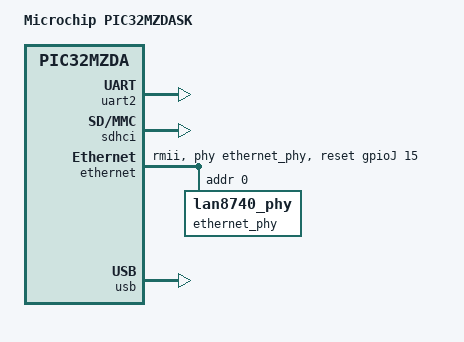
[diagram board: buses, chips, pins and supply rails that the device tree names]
// SPDX-License-Identifier: GPL-2.0+
/*
 * Copyright (C) 2015 Purna Chandra Mandal, purna.mandal@microchip.com
 */

/dts-v1/;

#include "pic32mzda.dtsi"

/ {
	model = "Microchip PIC32MZDASK";
	compatible = "microchip,pic32mzdask", "microchip,pic32mzda";

	aliases {
		console = &uart2;
		serial0 = &uart2;
	};

	chosen {
		stdout-path = "serial0:115200n8";
	};
};

&clock {
	microchip,refo2-frequency = <50000000>;
	microchip,refo4-frequency = <25000000>;
	microchip,refo5-frequency = <40000000>;
	status = "okay";
	bootph-all;
};

&pinctrl {
	status = "okay";
	bootph-all;
};

&uart2 {
	status = "okay";
	bootph-all;
};

&sdhci {
	microchip,use-sdcd;
	status = "okay";
};

&ethernet {
	reset-gpios = <&gpioJ 15 0>;
	status = "okay";
	phy-mode = "rmii";
	phy-handle = <&ethernet_phy>;
	ethernet_phy: lan8740_phy@0 {
		reg = <0>;
	};
};

&usb {
	status = "okay";
};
